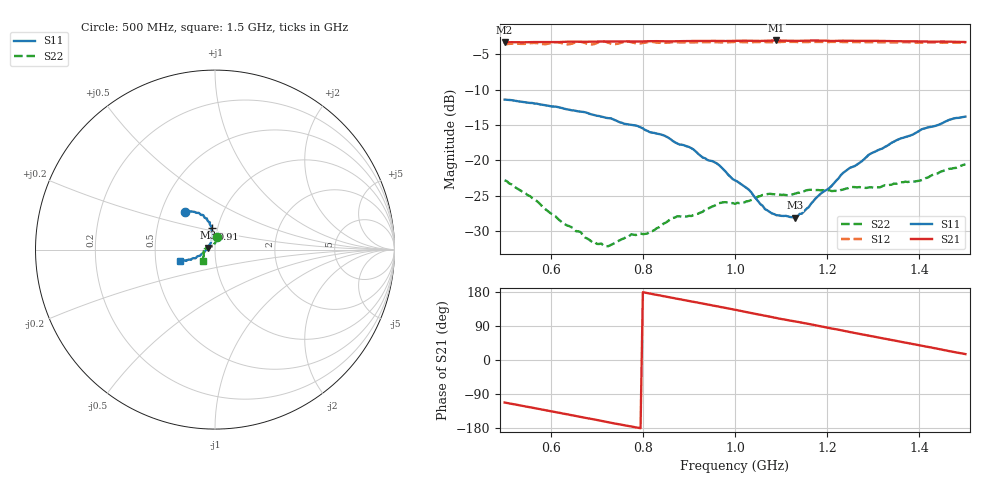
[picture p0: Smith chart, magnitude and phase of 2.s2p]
#  HZ  S  DB  R  50.00
! Rohde & Schwarz Vector Network Analyzer
! Rohde-Schwarz,ZNC3-2Port,1311600412101323,1.94
! Created: UTC 6/24/2025, 10:55:28 PM
!The following Port Impedance Renormalization has been used when saving the data.
!PortZ  Port1:50+j0  Port2:50+j0
! freq[Hz]  db:S11  ang:S11  db:S21  ang:S21  db:S12  ang:S12  db:S22  ang:S22
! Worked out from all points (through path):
!   201 points, 500 MHz to 1.5 GHz, reference 50 ohm
!   highest |S21| = -3.03 dB at 1.09 GHz (marker M1); lowest = -3.3 dB at 500 MHz (marker M2)
!   group delay of S21, straight-line fit = 646 ps
!   lowest |S11| = -28.1 dB at 1.13 GHz (marker M3), VSWR 1.08, Z = 46.3 + j0.99 ohm
!   |S11| at or under -10 dB: start of sweep to end of sweep
!   |S22| runs from -32.1 to -20.6 dB; largest |S21 - S12| = 0.03
!   S11 on the Smith chart (normalised r, x): 500 MHz: 0.66, +0.30; 910 MHz: 0.94, +0.22; 1.5 GHz: 0.67, -0.09
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5e8  -11.40 128.6  -3.30 -112.2  -3.56 -112.8  -22.81 80.9
6.05e8  -12.38 119.2  -3.28 -136.3  -3.33 -135.9  -27.69 86.8
6.55e8  -13.00 113.9  -3.21 -148.1  -3.28 -146.9  -30.02 98.2
6.7e8  -13.14 113.4  -3.22 -151.5  -3.30 -152.5  -30.58 104.0
6.9e8  -13.51 112.4  -3.21 -155.8  -3.59 -155.7  -31.55 114.2
7.05e8  -13.72 110.0  -3.19 -159.4  -3.27 -158.2  -31.83 120.7
7.25e8  -14.02 108.7  -3.18 -164.3  -3.35 -165.1  -32.13 128.1
7.55e8  -14.69 107.1  -3.17 -171.0  -3.31 -169.8  -31.13 139.2
8.35e8  -16.27 100.6  -3.14 170.6  -3.36 169.9  -29.46 158.8
8.75e8  -17.62 99.3  -3.14 161.6  -3.29 160.9  -27.90 166.3
9.1e8  -18.46 98.9  -3.11 153.4  -3.30 152.8  -27.74 169.9
9.65e8  -20.65 99.2  -3.12 140.7  -3.30 139.3  -26.06 173.1
1e9  -22.81 101.1  -3.09 132.7  -3.24 131.7  -26.15 176.0
1.03e9  -24.14 106.9  -3.08 125.2  -3.31 125.0  -25.75 174.4
1.065e9  -26.88 120.5  -3.08 116.9  -3.25 117.0  -24.82 177.4
1.09e9  -27.76 132.3  -3.03 110.7  -3.28 111.5  -24.86 -179.0
1.13e9  -28.08 164.3  -3.09 101.9  -3.24 101.5  -24.72 179.5
1.17e9  -25.78 -175.8  -3.05 92.8  -3.24 91.9  -24.18 -176.4
1.24e9  -21.50 -160.1  -3.08 76.1  -3.25 75.5  -24.01 -172.5
1.335e9  -17.72 -158.5  -3.13 53.9  -3.30 53.4  -23.47 -160.8
1.42e9  -15.31 -158.9  -3.21 34.3  -3.30 33.8  -22.38 -147.8
1.5e9  -13.80 -162.6  -3.26 15.6  -3.37 15.8  -20.56 -136.6
